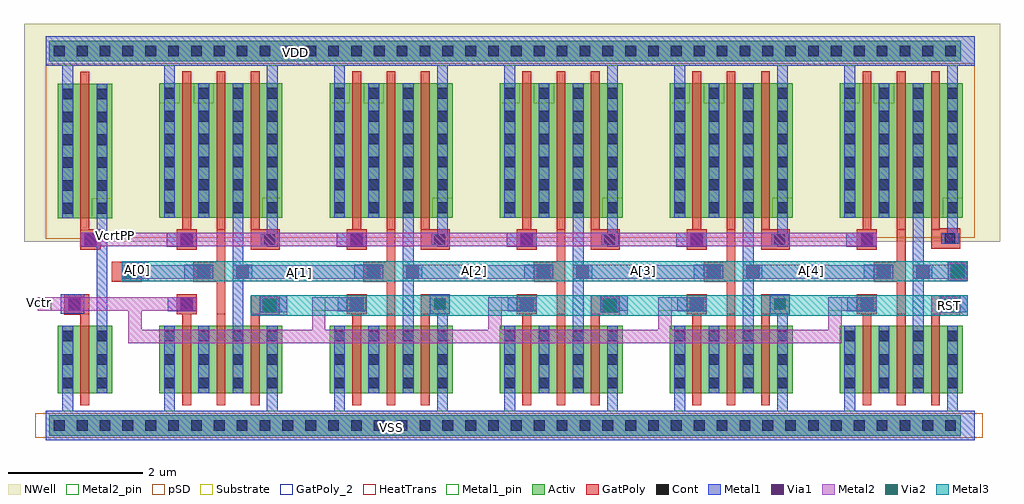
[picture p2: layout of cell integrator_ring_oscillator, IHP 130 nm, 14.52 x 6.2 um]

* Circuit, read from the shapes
.subckt integrator_ring_oscillator A[0] A[1] A[2] A[3] A[4] RST VDD VSS VcrtPP Vctr
XM1 VcrtPP Vctr VSS VSS sg13_lv_nmos w=1u l=0.13u
XM2 n1 Vctr VSS VSS sg13_lv_nmos w=1u l=0.13u
XM3 A[1] A[0] n1 VSS sg13_lv_nmos w=1u l=0.13u
XM4 VSS RST A[1] VSS sg13_lv_nmos w=1u l=0.13u
XM5 n2 Vctr VSS VSS sg13_lv_nmos w=1u l=0.13u
XM6 A[2] A[1] n2 VSS sg13_lv_nmos w=1u l=0.13u
XM7 VSS VSS A[2] VSS sg13_lv_nmos w=1u l=0.13u
XM8 n3 Vctr VSS VSS sg13_lv_nmos w=1u l=0.13u
XM9 A[3] A[2] n3 VSS sg13_lv_nmos w=1u l=0.13u
XM10 VSS RST A[3] VSS sg13_lv_nmos w=1u l=0.13u
XM11 n4 Vctr VSS VSS sg13_lv_nmos w=1u l=0.13u
XM12 A[4] A[3] n4 VSS sg13_lv_nmos w=1u l=0.13u
XM13 VSS VSS A[4] VSS sg13_lv_nmos w=1u l=0.13u
XM14 n5 Vctr VSS VSS sg13_lv_nmos w=1u l=0.13u
XM15 A[0] A[4] n5 VSS sg13_lv_nmos w=1u l=0.13u
XM16 VSS RST A[0] VSS sg13_lv_nmos w=1u l=0.13u
XM17 VcrtPP VcrtPP VDD VDD sg13_lv_pmos w=2u l=0.13u
XM18 n6 VcrtPP VDD VDD sg13_lv_pmos w=2u l=0.13u
XM19 A[1] A[0] n6 VDD sg13_lv_pmos w=2u l=0.13u
XM20 VDD VDD A[1] VDD sg13_lv_pmos w=2u l=0.13u
XM21 n7 VcrtPP VDD VDD sg13_lv_pmos w=2u l=0.13u
XM22 A[2] A[1] n7 VDD sg13_lv_pmos w=2u l=0.13u
XM23 VDD VDD A[2] VDD sg13_lv_pmos w=2u l=0.13u
XM24 n8 VcrtPP VDD VDD sg13_lv_pmos w=2u l=0.13u
XM25 A[3] A[2] n8 VDD sg13_lv_pmos w=2u l=0.13u
XM26 VDD VDD A[3] VDD sg13_lv_pmos w=2u l=0.13u
XM27 n9 VcrtPP VDD VDD sg13_lv_pmos w=2u l=0.13u
XM28 A[4] A[3] n9 VDD sg13_lv_pmos w=2u l=0.13u
XM29 VDD VDD A[4] VDD sg13_lv_pmos w=2u l=0.13u
XM30 n10 VcrtPP VDD VDD sg13_lv_pmos w=2u l=0.13u
XM31 A[0] A[4] n10 VDD sg13_lv_pmos w=2u l=0.13u
XM32 VDD VDD A[0] VDD sg13_lv_pmos w=2u l=0.13u
.ends

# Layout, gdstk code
from math import pi, radians
import gdstk
lib = gdstk.Library(unit=1e-6, precision=1e-09)
def R(c, l, rs):  # rectangles x0, y0, x1, y1
    for r in rs: c.add(gdstk.rectangle(r[:2], r[2:], *l))
def A(c, l, x, y, w, h, nx, ny, dx, dy):  # array of equal rectangles
    R(c, l, [(x+i*dx, y+j*dy, x+i*dx+w, y+j*dy+h) for i in range(nx) for j in range(ny)])
def P(c, l, *ps):  # polygons
    for p in ps: c.add(gdstk.Polygon(p, *l))
Activ = (1, 0)
GatPoly = (5, 0)
GatPoly_2 = (5, 2)
Cont = (6, 0)
Metal1 = (8, 0)
Metal1_pin = (8, 2)
Metal2 = (10, 0)
Metal2_pin = (10, 2)
pSD = (14, 0)
Via1 = (19, 0)
Via2 = (29, 0)
Metal3 = (30, 0)
NWell = (31, 0)
Substrate = (40, 0)
HeatTrans = (51, 0)

via_stack_17 = lib.new_cell('via_stack$17')
R(via_stack_17, GatPoly, [(-0.15,-0.15,0.15,0.15)])
R(via_stack_17, Cont, [(-0.08,-0.08,0.08,0.08)])
R(via_stack_17, Metal1, [(-0.13,-0.08,0.13,0.08)])

via_stack_15 = lib.new_cell('via_stack$15')
R(via_stack_15, Activ, [(-6.78,-0.15,6.78,0.15)])
A(via_stack_15, Cont, -6.71, -0.08, 0.16, 0.16, 40, 1, 0.34, 0)
R(via_stack_15, Metal1, [(-6.76,-0.08,6.76,0.08)])

via_stack_18 = lib.new_cell('via_stack$18')
R(via_stack_18, GatPoly, [(-0.15,-0.15,0.15,0.15)])
R(via_stack_18, Cont, [(-0.08,-0.08,0.08,0.08)])
R(via_stack_18, Metal1, [(-0.145,-0.105,0.145,0.105)])
R(via_stack_18, Metal2, [(-0.145,-0.1,0.145,0.1)])
R(via_stack_18, Via1, [(-0.095,-0.095,0.095,0.095)])
R(via_stack_18, Via2, [(-0.095,-0.095,0.095,0.095)])
R(via_stack_18, Metal3, [(-0.145,-0.1,0.145,0.1)])

via_stack_14 = lib.new_cell('via_stack$14')
R(via_stack_14, Activ, [(-6.78,-0.15,6.78,0.15)])
A(via_stack_14, Cont, -6.71, -0.08, 0.16, 0.16, 40, 1, 0.34, 0)
R(via_stack_14, Metal1, [(-6.76,-0.08,6.76,0.08)])

via_stack_9_1 = lib.new_cell('via_stack$9$1')
R(via_stack_9_1, GatPoly, [(-5.15,-0.15,-4.85,0.15)])
R(via_stack_9_1, Cont, [(-5.08,-0.08,-4.92,0.08)])
R(via_stack_9_1, Metal1, [(-5.145,-0.105,-4.855,0.105)])
R(via_stack_9_1, Metal2, [(-5.145,-0.1,-4.855,0.1)])
R(via_stack_9_1, Via1, [(-5.095,-0.095,-4.905,0.095)])

via_stack_11 = lib.new_cell('via_stack$11')
R(via_stack_11, GatPoly, [(-5.15,-0.15,-4.85,0.15)])
R(via_stack_11, Cont, [(-5.08,-0.08,-4.92,0.08)])
R(via_stack_11, Metal1, [(-5.13,-0.08,-4.87,0.08)])

nmos_3_1 = lib.new_cell('nmos$3$1')
R(nmos_3_1, Activ, [(-5,0,-4.7,0.3), (-5,0,-4.19,1), (-4.49,0,-4.19,0.3)])
R(nmos_3_1, GatPoly, [(-4.66,-0.18,-4.53,1.18)])
R(nmos_3_1, GatPoly_2, [(-4.66,-0.18,-4.53,1.18)])
A(nmos_3_1, Cont, -4.93, 0.07, 0.16, 0.16, 1, 3, 0, 0.35)
A(nmos_3_1, Cont, -4.42, 0.07, 0.16, 0.16, 1, 3, 0, 0.35)
R(nmos_3_1, Metal1, [(-4.93,0,-4.77,1), (-4.42,0,-4.26,1)])
R(nmos_3_1, Metal1_pin, [(-4.93,0,-4.77,1), (-4.42,0,-4.26,1)])
R(nmos_3_1, HeatTrans, [(-4.66,-0.18,-4.53,1.18)])
nmos_3_1.add(gdstk.Label('nmos', (-4.595,0.5), layer=63, texttype=0))
nmos_3_1.add(gdstk.Label('nmos', (-4.595,0.5), layer=51, texttype=0))

pmos_3_1 = lib.new_cell('pmos$3$1')
R(pmos_3_1, Activ, [(-5,0,-4.7,0.3), (-5,0,-4.19,2), (-4.49,0,-4.19,0.3)])
R(pmos_3_1, GatPoly, [(-4.66,-0.18,-4.53,2.18), (-4.66,-0.18,-4.53,2.18)])
A(pmos_3_1, Cont, -4.93, 0.07, 0.16, 0.16, 1, 6, 0, 0.34)
A(pmos_3_1, Cont, -4.42, 0.07, 0.16, 0.16, 1, 6, 0, 0.34)
R(pmos_3_1, Metal1, [(-4.93,0,-4.77,2), (-4.93,0,-4.77,2), (-4.42,0,-4.26,2), (-4.42,0,-4.26,2)])
R(pmos_3_1, pSD, [(-5.18,-0.3,-4.01,2.3)])
R(pmos_3_1, NWell, [(-5.31,-0.31,-3.88,2.31)])
R(pmos_3_1, Substrate, [(-4.49,0,-4.19,0.3)])
R(pmos_3_1, HeatTrans, [(-4.66,-0.18,-4.53,2.18)])
pmos_3_1.add(gdstk.Label('pmos', (-4.595,1), layer=63, texttype=0))
pmos_3_1.add(gdstk.Label('pmos', (-4.595,1), layer=51, texttype=0))

via_stack_10_1 = lib.new_cell('via_stack$10$1')
R(via_stack_10_1, GatPoly, [(-5.15,-0.15,-4.85,0.15)])
R(via_stack_10_1, Cont, [(-5.08,-0.08,-4.92,0.08)])
R(via_stack_10_1, Metal1, [(-5.145,-0.105,-4.855,0.105)])
R(via_stack_10_1, Metal2, [(-5.145,-0.1,-4.855,0.1)])
R(via_stack_10_1, Via1, [(-5.095,-0.095,-4.905,0.095)])

via_stack_8_1 = lib.new_cell('via_stack$8$1')
R(via_stack_8_1, Metal1, [(-5.145,-0.105,-4.855,0.105)])
R(via_stack_8_1, Metal2, [(-5.145,-0.1,-4.855,0.1)])
R(via_stack_8_1, Via1, [(-5.095,-0.095,-4.905,0.095)])

via_stack_16 = lib.new_cell('via_stack$16')
R(via_stack_16, GatPoly, [(-0.15,-0.15,0.15,0.15)])
R(via_stack_16, Cont, [(-0.08,-0.08,0.08,0.08)])
R(via_stack_16, Metal1, [(-0.13,-0.08,0.13,0.08)])

via_stack_8_2 = lib.new_cell('via_stack$8$2')
R(via_stack_8_2, Metal1, [(-5.145,-0.105,-4.855,0.105)])
R(via_stack_8_2, Metal2, [(-5.145,-0.1,-4.855,0.1)])
R(via_stack_8_2, Via1, [(-5.095,-0.095,-4.905,0.095)])

nmos_3_2 = lib.new_cell('nmos$3$2')
R(nmos_3_2, Activ, [(-5,0,-4.7,0.3), (-5,0,-4.19,1), (-4.49,0,-4.19,0.3)])
R(nmos_3_2, GatPoly, [(-4.66,-0.18,-4.53,1.18)])
R(nmos_3_2, GatPoly_2, [(-4.66,-0.18,-4.53,1.18)])
A(nmos_3_2, Cont, -4.93, 0.07, 0.16, 0.16, 1, 3, 0, 0.35)
A(nmos_3_2, Cont, -4.42, 0.07, 0.16, 0.16, 1, 3, 0, 0.35)
R(nmos_3_2, Metal1, [(-4.93,0,-4.77,1), (-4.42,0,-4.26,1)])
R(nmos_3_2, Metal1_pin, [(-4.93,0,-4.77,1), (-4.42,0,-4.26,1)])
R(nmos_3_2, HeatTrans, [(-4.66,-0.18,-4.53,1.18)])
nmos_3_2.add(gdstk.Label('nmos', (-4.595,0.5), layer=63, texttype=0))
nmos_3_2.add(gdstk.Label('nmos', (-4.595,0.5), layer=51, texttype=0))

via_stack_10_2 = lib.new_cell('via_stack$10$2')
R(via_stack_10_2, GatPoly, [(-5.15,-0.15,-4.85,0.15)])
R(via_stack_10_2, Cont, [(-5.08,-0.08,-4.92,0.08)])
R(via_stack_10_2, Metal1, [(-5.145,-0.105,-4.855,0.105)])
R(via_stack_10_2, Metal2, [(-5.145,-0.1,-4.855,0.1)])
R(via_stack_10_2, Via1, [(-5.095,-0.095,-4.905,0.095)])

pmos_3_2 = lib.new_cell('pmos$3$2')
R(pmos_3_2, Activ, [(-5,0,-4.7,0.3), (-5,0,-4.19,2), (-4.49,0,-4.19,0.3)])
R(pmos_3_2, GatPoly, [(-4.66,-0.18,-4.53,2.18), (-4.66,-0.18,-4.53,2.18)])
A(pmos_3_2, Cont, -4.93, 0.07, 0.16, 0.16, 1, 6, 0, 0.34)
A(pmos_3_2, Cont, -4.42, 0.07, 0.16, 0.16, 1, 6, 0, 0.34)
R(pmos_3_2, Metal1, [(-4.93,0,-4.77,2), (-4.93,0,-4.77,2), (-4.42,0,-4.26,2), (-4.42,0,-4.26,2)])
R(pmos_3_2, pSD, [(-5.18,-0.3,-4.01,2.3)])
R(pmos_3_2, NWell, [(-5.31,-0.31,-3.88,2.31)])
R(pmos_3_2, Substrate, [(-4.49,0,-4.19,0.3)])
R(pmos_3_2, HeatTrans, [(-4.66,-0.18,-4.53,2.18)])
pmos_3_2.add(gdstk.Label('pmos', (-4.595,1), layer=63, texttype=0))
pmos_3_2.add(gdstk.Label('pmos', (-4.595,1), layer=51, texttype=0))

via_stack_9_2 = lib.new_cell('via_stack$9$2')
R(via_stack_9_2, GatPoly, [(-5.15,-0.15,-4.85,0.15)])
R(via_stack_9_2, Cont, [(-5.08,-0.08,-4.92,0.08)])
R(via_stack_9_2, Metal1, [(-5.145,-0.105,-4.855,0.105)])
R(via_stack_9_2, Metal2, [(-5.145,-0.1,-4.855,0.1)])
R(via_stack_9_2, Via1, [(-5.095,-0.095,-4.905,0.095)])

via_stack_12 = lib.new_cell('via_stack$12')
R(via_stack_12, GatPoly, [(-5.15,-0.15,-4.85,0.15)])
R(via_stack_12, Cont, [(-5.08,-0.08,-4.92,0.08)])
R(via_stack_12, Metal1, [(-5.13,-0.08,-4.87,0.08)])

via_stack_13 = lib.new_cell('via_stack$13')
R(via_stack_13, GatPoly, [(-0.15,-0.15,0.15,0.15)])
R(via_stack_13, Cont, [(-0.08,-0.08,0.08,0.08)])
R(via_stack_13, Metal1, [(-0.145,-0.105,0.145,0.105)])
R(via_stack_13, Metal2, [(-0.145,-0.1,0.145,0.1)])
R(via_stack_13, Via1, [(-0.095,-0.095,0.095,0.095)])

pmos_1 = lib.new_cell('pmos$1')
R(pmos_1, Activ, [(0,0,0.3,0.3), (0,0,0.81,2), (0.51,0,0.81,0.3)])
R(pmos_1, GatPoly, [(0.34,-0.18,0.47,2.18), (0.34,-0.18,0.47,2.18)])
A(pmos_1, Cont, 0.07, 0.07, 0.16, 0.16, 1, 6, 0, 0.34)
A(pmos_1, Cont, 0.58, 0.07, 0.16, 0.16, 1, 6, 0, 0.34)
R(pmos_1, Metal1, [(0.07,0,0.23,2), (0.07,0,0.23,2), (0.58,0,0.74,2), (0.58,0,0.74,2)])
R(pmos_1, pSD, [(-0.18,-0.3,0.99,2.3)])
R(pmos_1, NWell, [(-0.31,-0.31,1.12,2.31)])
R(pmos_1, Substrate, [(0.51,0,0.81,0.3)])
R(pmos_1, HeatTrans, [(0.34,-0.18,0.47,2.18)])
pmos_1.add(gdstk.Label('pmos', (0.405,1), layer=63, texttype=0))
pmos_1.add(gdstk.Label('pmos', (0.405,1), layer=51, texttype=0))

integrator_ring_oscillat = lib.new_cell('integrator_ring_oscillator')
A(integrator_ring_oscillat, GatPoly, 4.17, 5.67, 0.13, 1.26, 5, 1, 2.53, 0)
A(integrator_ring_oscillat, GatPoly, 4.125, 6.155, 0.045, 0.3, 5, 1, 2.53, 0)
A(integrator_ring_oscillat, GatPoly, 4.68, 6.635, 0.13, 0.295, 4, 1, 2.53, 0)
R(integrator_ring_oscillat, GatPoly, [(2.145,5.66,2.275,5.97), (9.74,5.66,9.87,5.955), (14.8,5.66,14.93,5.955), (4.68,5.665,4.81,5.955), (7.21,5.68,7.34,5.975), (12.27,5.68,12.4,5.975), (2.61,6.155,2.757,6.455), (14.8,6.65,14.93,6.93)])
A(integrator_ring_oscillat, Metal1, 4.41, 5.5, 0.16, 1.61, 5, 1, 2.53, 0)
A(integrator_ring_oscillat, Metal1, 3.44, 5.72, 0.43, 0.21, 3, 1, 2.53, 0)
A(integrator_ring_oscillat, Metal1, 3.69, 6.2, 0.43, 0.21, 3, 1, 2.53, 0)
A(integrator_ring_oscillat, Metal1, 3.43, 6.68, 0.43, 0.21, 3, 1, 2.53, 0)
A(integrator_ring_oscillat, Metal1, 4.92, 6.68, 0.16, 0.43, 4, 1, 2.53, 0)
R(integrator_ring_oscillat, Metal1, [(1.625,3.8,15.45,4.24), (1.625,3.8,15.45,4.24), (1.875,4.24,2.035,4.5), (3.39,4.24,3.55,4.5), (4.92,4.24,5.08,4.5), (5.92,4.24,6.08,4.5), (7.45,4.24,7.61,4.5), (8.45,4.24,8.61,4.5), (9.98,4.24,10.14,4.5), (10.98,4.24,11.14,4.5), (12.51,4.24,12.67,4.5), (13.51,4.24,13.67,4.5), (15.04,4.24,15.2,4.5), (2.385,5.5,2.545,7.1), (7.45,5.5,7.61,5.675), (12.51,5.5,12.67,5.675), (7.34,5.675,7.64,5.975), (12.4,5.675,12.7,5.975), (1.85,5.68,2.205,5.975), (4.81,5.7,5.225,5.955), (14.935,5.7,15.345,5.955), (11.02,5.72,11.45,5.93), (13.55,5.72,13.98,5.93), (9.875,5.725,10.29,5.955), (2.76,6.165,3.155,6.455), (11.27,6.2,11.7,6.41), (13.8,6.2,14.23,6.41), (11.01,6.68,11.44,6.89), (13.54,6.68,13.97,6.89), (15.04,6.72,15.2,7.11), (1.875,9.1,2.035,9.37), (3.39,9.11,3.55,9.37), (4.92,9.11,5.08,9.37), (5.92,9.11,6.08,9.37), (7.45,9.11,7.61,9.37), (8.45,9.11,8.61,9.37), (9.98,9.11,10.14,9.37), (10.98,9.11,11.14,9.37), (12.51,9.11,12.67,9.37), (13.51,9.11,13.67,9.37), (15.04,9.11,15.2,9.37), (1.625,9.37,15.45,9.81), (1.625,9.37,15.45,9.81)])
P(integrator_ring_oscillat, Metal1, [(15.045,6.165),(15.045,6.465),(15.345,6.465),(15.345,6.33),(15.345,6.165)])
R(integrator_ring_oscillat, Metal1_pin, [(1.625,3.8,15.45,4.24), (1.625,9.37,15.45,9.81)])
A(integrator_ring_oscillat, Metal2, 8.21, 5.725, 0.43, 0.2, 3, 1, 2.53, 0)
A(integrator_ring_oscillat, Metal2, 5.68, 6.205, 0.725, 0.2, 4, 1, 2.53, 0)
A(integrator_ring_oscillat, Metal2, 6.94, 6.205, 1.27, 0.205, 3, 1, 2.53, 0)
A(integrator_ring_oscillat, Metal2, 5.68, 6.685, 0.43, 0.2, 4, 1, 2.53, 0)
R(integrator_ring_oscillat, Metal2, [(9.74,5.655,10.29,5.955), (14.8,5.655,15.345,5.955), (14.94,5.655,15.23,5.955), (4.68,5.66,5.225,5.955), (1.51,5.725,3.58,5.925), (5.59,5.725,6.11,5.925), (15.045,6.165,15.345,6.465), (3.05,6.205,3.875,6.405), (4.41,6.205,5.68,6.405), (14.53,6.205,15.345,6.41), (2.15,6.685,13.27,6.885), (3.15,6.685,3.87,6.885)])
A(integrator_ring_oscillat, Metal2_pin, 8.21, 5.725, 0.2, 0.2, 3, 1, 2.53, 0)
R(integrator_ring_oscillat, Metal2_pin, [(14.93,5.655,15.345,5.955), (1.51,5.725,1.71,5.925), (5.59,5.725,5.79,5.925), (2.93,6.205,3.13,6.405), (5.37,6.205,5.58,6.405), (7.97,6.205,8.17,6.405), (10.49,6.205,10.69,6.405), (12.99,6.205,13.19,6.405)])
R(integrator_ring_oscillat, pSD, [(1.47,3.84,15.565,4.2), (1.625,6.81,15.45,9.4)])
R(integrator_ring_oscillat, Metal3, [(4.68,5.655,15.345,5.955), (9.74,5.655,10.17,5.955), (14.8,5.655,15.23,5.955), (14.8,5.655,15.345,5.955), (4.68,5.66,5.11,5.955), (4.68,5.66,5.225,5.955), (9.74,5.675,10.17,5.955), (9.74,5.675,10.29,5.955), (2.76,6.165,15.345,6.465)])
R(integrator_ring_oscillat, NWell, [(1.305,6.75,3.325,9.995), (2.79,6.75,5.65,9.995), (5.6,6.75,8.46,9.995), (8.385,6.75,11.37,9.995), (11.32,6.75,14.18,9.995), (14.13,6.75,15.825,9.995)])
integrator_ring_oscillat.add(gdstk.FlexPath([(2.955,5.925),(2.955,5.245)], 0.2, ends="flush", simple_path=True, layer=10, datatype=0))  # Metal2
integrator_ring_oscillat.add(gdstk.FlexPath([(2.855,5.345),(13.47,5.345)], 0.2, ends="flush", simple_path=True, layer=10, datatype=0))  # Metal2
integrator_ring_oscillat.add(gdstk.FlexPath([(5.69,5.925),(5.69,5.245)], 0.2, ends="flush", simple_path=True, layer=10, datatype=0))  # Metal2
integrator_ring_oscillat.add(gdstk.FlexPath([(8.31,5.925),(8.31,5.245)], 0.2, ends="flush", simple_path=True, layer=10, datatype=0))  # Metal2
integrator_ring_oscillat.add(gdstk.FlexPath([(10.84,5.925),(10.84,5.245)], 0.2, ends="flush", simple_path=True, layer=10, datatype=0))  # Metal2
integrator_ring_oscillat.add(gdstk.FlexPath([(13.37,5.925),(13.37,5.245)], 0.2, ends="flush", simple_path=True, layer=10, datatype=0))  # Metal2
integrator_ring_oscillat.add(gdstk.Reference(via_stack_17, (7.49,5.825)))
integrator_ring_oscillat.add(gdstk.Reference(via_stack_15, (8.46,9.59)))
integrator_ring_oscillat.add(gdstk.Reference(via_stack_18, (15.195,6.315)))
integrator_ring_oscillat.add(gdstk.Reference(via_stack_18, (2.905,6.305)))
integrator_ring_oscillat.add(gdstk.Reference(via_stack_18, (4.96,5.805)))
integrator_ring_oscillat.add(gdstk.Reference(via_stack_18, (10.02,5.805)))
integrator_ring_oscillat.add(gdstk.Reference(via_stack_18, (15.08,5.805)))
integrator_ring_oscillat.add(gdstk.Reference(via_stack_14, (8.46,4.02)))
integrator_ring_oscillat.add(gdstk.Reference(via_stack_9_1, (6.315,5.825), rotation=pi))
integrator_ring_oscillat.add(gdstk.Reference(via_stack_11, (17.55,6.785)))
integrator_ring_oscillat.add(gdstk.Reference(nmos_3_1, (16.93,4.5)))
integrator_ring_oscillat.add(gdstk.Reference(pmos_3_1, (16.93,7.11)))
integrator_ring_oscillat.add(gdstk.Reference(pmos_3_1, (7.23,9.11), rotation=pi))
integrator_ring_oscillat.add(gdstk.Reference(via_stack_9_1, (16.315,6.785)))
integrator_ring_oscillat.add(gdstk.Reference(pmos_3_1, (7.23,9.11), rotation=pi))
integrator_ring_oscillat.add(gdstk.Reference(via_stack_10_1, (6.565,6.305), rotation=pi))
integrator_ring_oscillat.add(gdstk.Reference(nmos_3_1, (7.23,5.5), rotation=pi))
integrator_ring_oscillat.add(gdstk.Reference(via_stack_8_1, (7.145,6.305), rotation=pi))
integrator_ring_oscillat.add(gdstk.Reference(nmos_3_1, (6.72,5.5), rotation=pi))
integrator_ring_oscillat.add(gdstk.Reference(pmos_3_1, (6.72,9.11), rotation=pi))
integrator_ring_oscillat.add(gdstk.Reference(via_stack_8_1, (9.675,6.305), rotation=pi))
integrator_ring_oscillat.add(gdstk.Reference(nmos_3_1, (9.76,5.5), rotation=pi))
integrator_ring_oscillat.add(gdstk.Reference(nmos_3_1, (9.25,5.5), rotation=pi))
integrator_ring_oscillat.add(gdstk.Reference(via_stack_10_1, (9.095,6.305), rotation=pi))
integrator_ring_oscillat.add(gdstk.Reference(pmos_3_1, (9.76,9.11), rotation=pi))
integrator_ring_oscillat.add(gdstk.Reference(via_stack_9_1, (18.845,6.785)))
integrator_ring_oscillat.add(gdstk.Reference(pmos_3_1, (9.25,9.11), rotation=pi))
integrator_ring_oscillat.add(gdstk.Reference(pmos_3_1, (9.76,9.11), rotation=pi))
integrator_ring_oscillat.add(gdstk.Reference(pmos_3_1, (19.46,7.11)))
integrator_ring_oscillat.add(gdstk.Reference(nmos_3_1, (19.46,4.5)))
integrator_ring_oscillat.add(gdstk.Reference(via_stack_16, (12.55,5.825)))
integrator_ring_oscillat.add(gdstk.Reference(via_stack_11, (20.08,6.8)))
integrator_ring_oscillat.add(gdstk.Reference(via_stack_9_1, (8.845,5.825), rotation=pi))
integrator_ring_oscillat.add(gdstk.Reference(via_stack_8_2, (4.615,6.305), rotation=pi))
integrator_ring_oscillat.add(gdstk.Reference(nmos_3_2, (4.7,5.5), rotation=pi))
integrator_ring_oscillat.add(gdstk.Reference(nmos_3_2, (4.19,5.5), rotation=pi))
integrator_ring_oscillat.add(gdstk.Reference(via_stack_10_2, (4.035,6.305), rotation=pi))
integrator_ring_oscillat.add(gdstk.Reference(pmos_3_2, (4.7,9.11), rotation=pi))
integrator_ring_oscillat.add(gdstk.Reference(via_stack_9_2, (13.785,6.785)))
integrator_ring_oscillat.add(gdstk.Reference(pmos_3_2, (4.19,9.11), rotation=pi))
integrator_ring_oscillat.add(gdstk.Reference(pmos_3_2, (4.7,9.11), rotation=pi))
integrator_ring_oscillat.add(gdstk.Reference(pmos_3_2, (14.4,7.11)))
integrator_ring_oscillat.add(gdstk.Reference(nmos_3_2, (14.4,4.5)))
integrator_ring_oscillat.add(gdstk.Reference(via_stack_12, (15.02,6.785)))
integrator_ring_oscillat.add(gdstk.Reference(via_stack_9_2, (3.785,5.825), rotation=pi))
integrator_ring_oscillat.add(gdstk.Reference(via_stack_8_1, (2.085,6.305), rotation=pi))
integrator_ring_oscillat.add(gdstk.Reference(nmos_3_1, (2.17,5.5), rotation=pi))
integrator_ring_oscillat.add(gdstk.Reference(nmos_3_1, (1.66,5.5), rotation=pi))
integrator_ring_oscillat.add(gdstk.Reference(via_stack_10_1, (1.505,6.305), rotation=pi))
integrator_ring_oscillat.add(gdstk.Reference(pmos_3_1, (2.17,9.11), rotation=pi))
integrator_ring_oscillat.add(gdstk.Reference(via_stack_9_1, (11.255,6.785)))
integrator_ring_oscillat.add(gdstk.Reference(pmos_3_1, (1.66,9.11), rotation=pi))
integrator_ring_oscillat.add(gdstk.Reference(pmos_3_1, (2.17,9.11), rotation=pi))
integrator_ring_oscillat.add(gdstk.Reference(pmos_3_1, (11.87,7.11)))
integrator_ring_oscillat.add(gdstk.Reference(nmos_3_1, (11.87,4.5)))
integrator_ring_oscillat.add(gdstk.Reference(via_stack_11, (12.49,6.785)))
integrator_ring_oscillat.add(gdstk.Reference(via_stack_9_1, (1.255,5.825), rotation=pi))
integrator_ring_oscillat.add(gdstk.Reference(via_stack_9_1, (-1.275,5.825), rotation=pi))
integrator_ring_oscillat.add(gdstk.Reference(via_stack_11, (9.96,6.785)))
integrator_ring_oscillat.add(gdstk.Reference(nmos_3_1, (9.34,4.5)))
integrator_ring_oscillat.add(gdstk.Reference(pmos_3_1, (9.34,7.11)))
integrator_ring_oscillat.add(gdstk.Reference(pmos_3_1, (-0.36,9.11), rotation=pi))
integrator_ring_oscillat.add(gdstk.Reference(pmos_3_1, (-0.87,9.11), rotation=pi))
integrator_ring_oscillat.add(gdstk.Reference(pmos_3_1, (-0.36,9.11), rotation=pi))
integrator_ring_oscillat.add(gdstk.Reference(via_stack_10_1, (-1.025,6.305), rotation=pi))
integrator_ring_oscillat.add(gdstk.Reference(nmos_3_1, (-0.36,5.5), rotation=pi))
integrator_ring_oscillat.add(gdstk.Reference(via_stack_8_1, (-0.445,6.305), rotation=pi))
integrator_ring_oscillat.add(gdstk.Reference(nmos_3_1, (-0.87,5.5), rotation=pi))
integrator_ring_oscillat.add(gdstk.Reference(via_stack_9_1, (8.725,6.785)))
integrator_ring_oscillat.add(gdstk.Reference(via_stack_9_1, (-2.945,5.82), rotation=pi))
integrator_ring_oscillat.add(gdstk.Reference(via_stack_13, (2.295,6.785)))
integrator_ring_oscillat.add(gdstk.Reference(nmos_3_1, (-2.385,5.5), rotation=pi))
integrator_ring_oscillat.add(gdstk.Reference(pmos_1, (1.805,7.1)))
integrator_ring_oscillat.add(gdstk.Label('Vctr', (1.54,5.855), layer=10, texttype=25))
integrator_ring_oscillat.add(gdstk.Label('RST', (15.08,5.81), layer=10, texttype=25))
integrator_ring_oscillat.add(gdstk.Label('VcrtPP', (2.665,6.84), layer=10, texttype=25))
integrator_ring_oscillat.add(gdstk.Label('A[0]', (2.99,6.34), layer=10, texttype=25))
integrator_ring_oscillat.add(gdstk.Label('A[1]', (5.405,6.295), layer=10, texttype=25))
integrator_ring_oscillat.add(gdstk.Label('A[2]', (8,6.33), layer=10, texttype=25))
integrator_ring_oscillat.add(gdstk.Label('A[3]', (10.52,6.33), layer=10, texttype=25))
integrator_ring_oscillat.add(gdstk.Label('A[4]', (13.02,6.33), layer=10, texttype=25))
integrator_ring_oscillat.add(gdstk.Label('VSS', (6.77,3.995), layer=8, texttype=25))
integrator_ring_oscillat.add(gdstk.Label('VDD', (5.341,9.571), layer=8, texttype=25))

lib.write_gds('integrator_ring_oscillator.gds')
